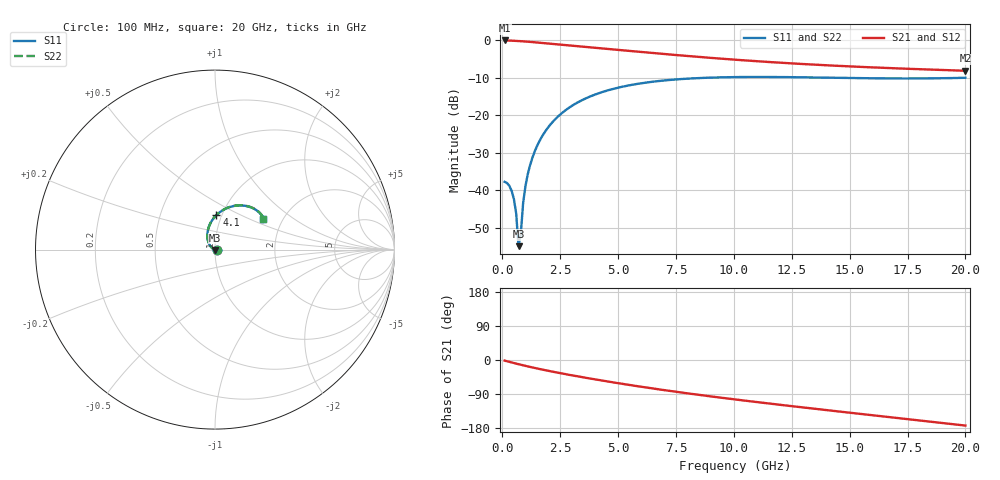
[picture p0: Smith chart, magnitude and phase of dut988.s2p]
! Touchstone file exported from HFSS 2024.1.0
!  File:  C:/UserFiles/LocalFiles/RDL_TSV_Batchsim/temp_RDL_TSV_988_1779975127.aedt
!  Generated:  09:43:26 PM May 28, 2026
!  Design:  RDL_TSV
!  Project:  temp_RDL_TSV_988_1779975127
!  Setup:  Setup1
!  Solution:  Sweep
! Variables:
!  dtsv = 14.39um
!  hbump = 3um
!  htsv = 58.85um
!  ldown = 179.95um
!  lrdl = 471.47um
!  p = 40
!  p1 = 50.81um
!  rhole = 10um
!  subl = 2425.73um
!  t = 450um
!  tdown = 3.96um
!  trdl = 3.37um
!  viad = 10um
!  wdown = 18.55um
!  wrdl = 19.52um
!  xbump = 18um
# GHz S MA R 50.000000
! Terminal data exported
! Port[1] = TM1_1_T1
! Port[2] = TM1_4_T1
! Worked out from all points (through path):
!   200 points, 100 MHz to 20 GHz, reference 50 ohm
!   highest |S21| = -0.12 dB at 100 MHz (marker M1); lowest = -8.2 dB at 20 GHz (marker M2)
!   group delay of S21, straight-line fit = 22.6 ps
!   lowest |S11| = -54.8 dB at 700 MHz (marker M3), VSWR 1.00, Z = 50.1 - j0.148 ohm
!   |S11| at or under -10 dB: start of sweep to 9.03 GHz; 13.83 GHz to end of sweep
!   |S22| runs from -54.9 to -9.8 dB; largest |S21 - S12| = 1.2e-14
!   S11 on the Smith chart (normalised r, x): 100 MHz: 1.03, -0.00; 4.1 GHz: 0.94, +0.38; 20 GHz: 1.59, +0.59
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0.1  0.01299 -1.7  0.9863 -1.6  0.9863 -1.6  0.01299 -1.7
! Gamma 0 0 0 0
! Port Impedance 50 0 50 0
0.3  0.01155 -7.9  0.9826 -4.9  0.9826 -4.9  0.01154 -7.9
0.4  0.009938 -12.3  0.9799 -6.4  0.9799 -6.4  0.009931 -12.3
0.5  0.007709 -17.9  0.9767 -8.0  0.9767 -8.0  0.007698 -17.9
0.6  0.004923 -26.4  0.973 -9.5  0.973 -9.5  0.004907 -26.4
0.7  0.00181 -54.9  0.969 -11.0  0.969 -11.0  0.001792 -55.3
0.8  0.00266 -176.0  0.9646 -12.5  0.9646 -12.5  0.002685 -176.2
0.9  0.006785 165.3  0.9598 -14.0  0.9598 -14.0  0.006819 165.3
1  0.0114 158.2  0.9548 -15.5  0.9548 -15.5  0.01145 158.2
1.2  0.02165 149.2  0.944 -18.3  0.944 -18.3  0.02171 149.2
1.5  0.03885 139.1  0.9268 -22.3  0.9268 -22.3  0.03894 139.1
1.9  0.06372 128.0  0.9031 -27.5  0.9031 -27.5  0.06385 128.0
2.3  0.08931 118.5  0.8797 -32.3  0.8797 -32.3  0.0895 118.6
2.8  0.1207 108.3  0.8513 -38.1  0.8513 -38.1  0.121 108.3
3.5  0.1616 96.3  0.8136 -45.8  0.8136 -45.8  0.1619 96.3
4.1  0.1928 87.5  0.7828 -52.1  0.7828 -52.1  0.1932 87.6
5.3  0.2433 73.2  0.7248 -64.1  0.7248 -64.1  0.2438 73.2
6.8  0.2857 59.5  0.6591 -77.8  0.6591 -77.8  0.2864 59.5
10.1  0.3214 40.4  0.5457 -104.4  0.5457 -104.4  0.3224 40.4
13.4  0.3177 31.5  0.4714 -128.1  0.4714 -128.1  0.3188 31.5
16.7  0.3082 29.8  0.4234 -150.6  0.4234 -150.6  0.3093 29.8
20  0.3145 32.2  0.3901 -173.1  0.3901 -173.1  0.3155 32.2
